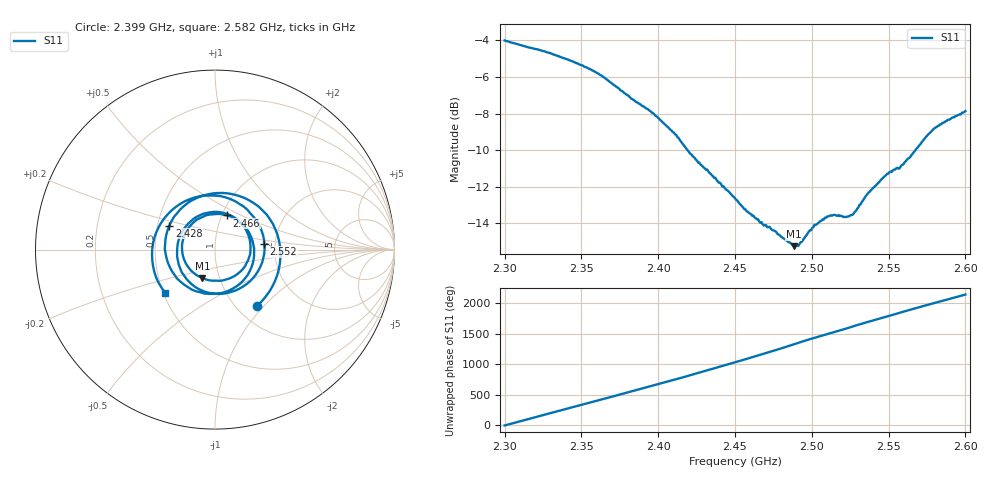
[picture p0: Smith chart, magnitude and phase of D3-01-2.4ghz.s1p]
! NanoVNA-App
! Date: 2026-05-22 18:43:03
! Start: 2.3GHz Stop: 2.6GHz Points: 401
! S-Parameter data: F S11
# Hz S RI R 50
!  Frequency  S11_Real  S11_Imag
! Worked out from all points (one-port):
!   401 points, 2.3 GHz to 2.6 GHz, reference 50 ohm
!   lowest |S11| = -15.2 dB at 2.488 GHz (marker M1), VSWR 1.42, Z = 41.5 - j13.5 ohm
!   |S11| at or under -10 dB: 2.419 GHz to 2.567 GHz (148.3 MHz wide, 5.95 % of centre)
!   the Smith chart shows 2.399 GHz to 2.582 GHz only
!   S11 on the Smith chart (normalised r, x): 2.399 GHz: 1.23, -0.91; 2.428 GHz: 0.58, +0.17; 2.466 GHz: 1.06, +0.42; 2.552 GHz: 1.75, +0.12; 2.582 GHz: 0.51, -0.28
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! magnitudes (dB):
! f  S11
! 2.3 GHz  -4.0
! 2.337 GHz  -4.9
! 2.359 GHz  -5.7
! 2.375 GHz  -6.7
! 2.399 GHz  -8.2
! 2.413 GHz  -9.3
! 2.421 GHz  -10.2
! 2.428 GHz  -10.8
! 2.45 GHz  -12.6
! 2.457 GHz  -13.2
! 2.466 GHz  -13.9
! 2.487 GHz  -15.2
! 2.488 GHz  -15.2
! 2.492 GHz  -15.1
! 2.502 GHz  -14.1
! 2.51 GHz  -13.6
! 2.514 GHz  -13.5
! 2.522 GHz  -13.7
! 2.525 GHz  -13.6
! 2.528 GHz  -13.4
! 2.538 GHz  -12.2
! 2.547 GHz  -11.4
! 2.552 GHz  -11.2
! 2.558 GHz  -10.9
! 2.562 GHz  -10.5
! 2.575 GHz  -9.2
! 2.582 GHz  -8.7
! 2.6 GHz  -7.9
